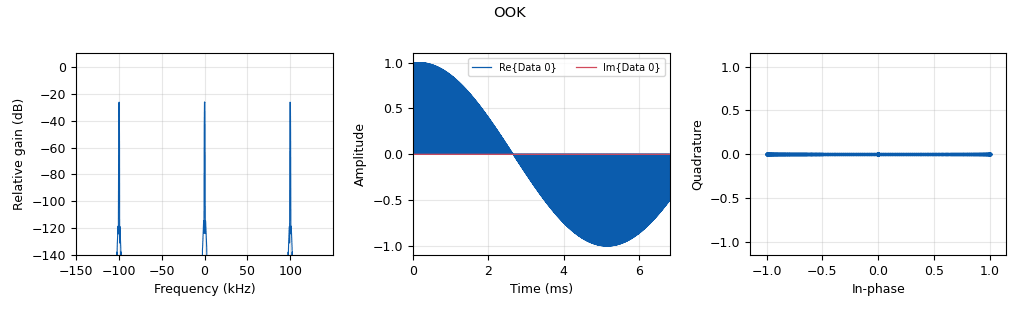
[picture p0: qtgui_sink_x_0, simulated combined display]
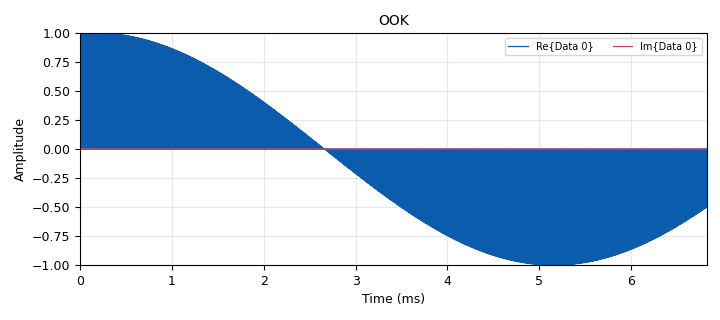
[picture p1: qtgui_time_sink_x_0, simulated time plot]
options:
  parameters:
    generate_options: qt_gui
    id: untitled
    output_language: python
    title: Not titled yet
  states: {}

blocks:
- name: samp_rate
  id: variable
  parameters:
    value: '300000'
  states: {}
- name: analog_sig_source_x_0
  id: analog_sig_source_x
  parameters:
    amp: '1'
    freq: '100000'
    offset: '0'
    phase: '0'
    samp_rate: samp_rate
    type: float
    waveform: analog.GR_SQR_WAVE
  states: {}
- name: analog_sig_source_x_1
  id: analog_sig_source_x
  parameters:
    amp: '1'
    freq: '100'
    offset: '0'
    phase: '0'
    samp_rate: samp_rate
    type: float
    waveform: analog.GR_COS_WAVE
  states: {}
- name: blocks_float_to_complex_0
  id: blocks_float_to_complex
  parameters: {}
  states: {}
- name: blocks_multiply_xx_0
  id: blocks_multiply_xx
  parameters:
    type: float
  states: {}
- name: qtgui_sink_x_0
  id: qtgui_sink_x
  parameters:
    bw: samp_rate
    fc: '0'
    fftsize: '2048'
    name: OOK
    plotwaterfall: 'False'
    type: complex
  states: {}
- name: qtgui_time_sink_x_0
  id: qtgui_time_sink_x
  parameters:
    name: OOK
    size: '2048'
    srate: samp_rate
    type: complex
  states: {}

connections:
- [analog_sig_source_x_0, '0', blocks_multiply_xx_0, '0']
- [analog_sig_source_x_1, '0', blocks_multiply_xx_0, '1']
- [blocks_float_to_complex_0, '0', qtgui_sink_x_0, '0']
- [blocks_float_to_complex_0, '0', qtgui_time_sink_x_0, '0']
- [blocks_multiply_xx_0, '0', blocks_float_to_complex_0, '0']

metadata:
  file_format: 1
  grc_version: 3.10.12.0
